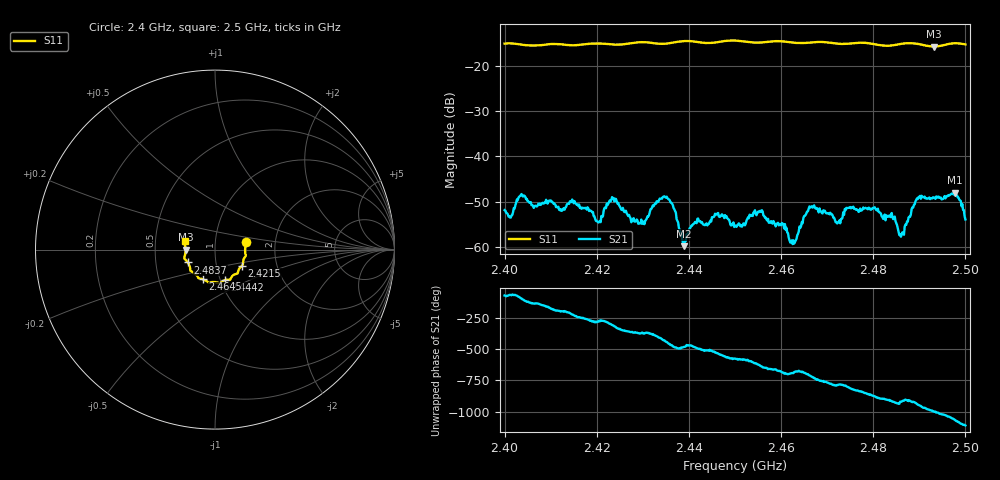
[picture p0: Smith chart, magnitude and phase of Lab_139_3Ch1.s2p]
# Hz S RI R 50
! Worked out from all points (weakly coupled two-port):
!   601 points, 2.4 GHz to 2.5 GHz, reference 50 ohm
!   highest |S21| = -48.01 dB at 2.4977 GHz (marker M1); lowest = -59.8 dB at 2.4388 GHz (marker M2)
!   lowest |S11| = -15.7 dB at 2.4932 GHz (marker M3), VSWR 1.39, Z = 35.9 - j0.055 ohm
!   |S11| at or under -10 dB: start of sweep to end of sweep
!   S12 and S22 are empty: the file has one direction only
!   S11 on the Smith chart (normalised r, x): 2.4 GHz: 1.41, +0.12; 2.4215 GHz: 1.33, -0.25; 2.4442 GHz: 1.05, -0.37; 2.4645 GHz: 0.83, -0.29; 2.4837 GHz: 0.73, -0.11; 2.5 GHz: 0.71, +0.07
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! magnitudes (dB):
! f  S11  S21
! 2.4 GHz  -15.1  -51.8
! 2.4038 GHz  -15.3  -48.6
! 2.4167 GHz  -15.3  -51.5
! 2.4215 GHz  -15.1  -51.9
! 2.4237 GHz  -15.3  -49.2
! 2.4298 GHz  -14.8  -54.9
! 2.4333 GHz  -15.1  -50.0
! 2.436 GHz  -15.0  -50.1
! 2.4388 GHz  -14.5  -59.8
! 2.4442 GHz  -15.0  -54.9
! 2.45 GHz  -14.4  -55.3
! 2.4555 GHz  -14.8  -52.0
! 2.4625 GHz  -14.8  -59.3
! 2.4645 GHz  -15.0  -54.4
! 2.4667 GHz  -14.8  -51.0
! 2.4833 GHz  -15.6  -53.2
! 2.4837 GHz  -15.5  -53.3
! 2.4862 GHz  -15.1  -57.2
! 2.4897 GHz  -15.1  -49.4
! 2.4932 GHz  -15.7  -49.1
! 2.4977 GHz  -15.0  -48.0
! 2.5 GHz  -15.3  -53.9
